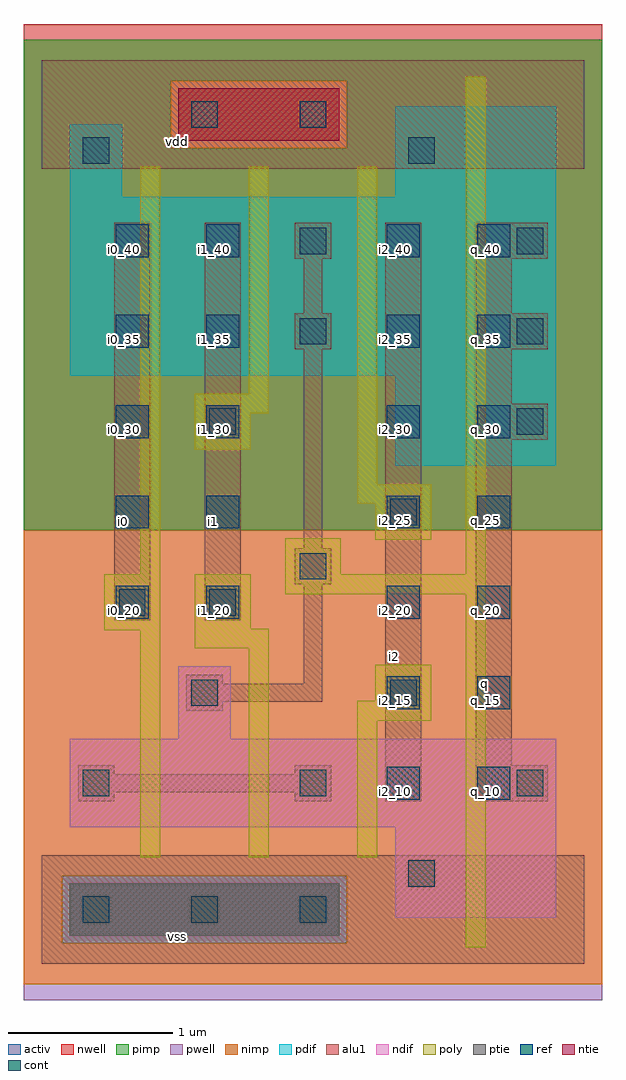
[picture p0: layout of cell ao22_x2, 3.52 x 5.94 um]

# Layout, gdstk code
import gdstk
lib = gdstk.Library(unit=1e-6, precision=2.5e-09)
def R(c, l, rs):  # rectangles x0, y0, x1, y1
    for r in rs: c.add(gdstk.rectangle(r[:2], r[2:], *l))
def A(c, l, x, y, w, h, nx, ny, dx, dy):  # array of equal rectangles
    R(c, l, [(x+i*dx, y+j*dy, x+i*dx+w, y+j*dy+h) for i in range(nx) for j in range(ny)])
ndif = (3, 0)
pdif = (4, 0)
ntie = (5, 0)
ptie = (6, 0)
ref = (24, 0)
cont = (25, 0)
pwell = (41, 0)
nwell = (42, 0)
activ = (43, 0)
pimp = (44, 0)
nimp = (45, 0)
poly = (46, 0)
alu1 = (49, 0)

ao22_x2 = lib.new_cell('ao22_x2')
R(ao22_x2, ndif, [(2.15,0.28,3.13,0.83), (2.15,0.28,3.13,0.83), (0.17,0.83,3.13,1.37), (0.17,0.83,3.13,1.37), (0.83,1.37,1.15,1.81), (0.83,1.37,1.15,1.81)])
R(ao22_x2, pdif, [(2.15,3.03,3.13,3.58), (2.15,3.03,3.13,3.58), (0.17,3.58,3.13,4.67), (0.17,3.58,3.13,4.67), (0.17,4.67,0.49,5.11), (0.17,4.67,0.49,5.11), (2.15,4.67,3.13,5.22), (2.15,4.67,3.13,5.22)])
R(ao22_x2, ntie, [(0.83,5.01,1.81,5.33), (0.83,5.01,1.81,5.33)])
R(ao22_x2, ptie, [(0.17,0.17,1.81,0.49), (0.17,0.17,1.81,0.49)])
A(ao22_x2, ref, 2.1, 1, 0.2, 0.2, 1, 7, 0, 0.55)
A(ao22_x2, ref, 2.65, 1, 0.2, 0.2, 1, 7, 0, 0.55)
A(ao22_x2, ref, 0.45, 2.1, 0.2, 0.2, 1, 5, 0, 0.55)
A(ao22_x2, ref, 1, 2.1, 0.2, 0.2, 1, 5, 0, 0.55)
A(ao22_x2, cont, 0.25, 0.25, 0.16, 0.16, 3, 1, 0.66, 0)
A(ao22_x2, cont, 0.25, 1.02, 0.16, 0.16, 3, 1, 1.32, 0)
A(ao22_x2, cont, 2.89, 3.22, 0.16, 0.16, 1, 3, 0, 0.55)
R(ao22_x2, cont, [(2.23,0.47,2.39,0.63), (0.91,1.57,1.07,1.73), (2.12,1.57,2.28,1.73), (0.47,2.12,0.63,2.28), (1.02,2.12,1.18,2.28), (1.57,2.34,1.73,2.5), (2.12,2.67,2.28,2.83), (1.02,3.22,1.18,3.38), (1.57,3.77,1.73,3.93), (1.57,4.32,1.73,4.48), (0.25,4.87,0.41,5.03), (2.23,4.87,2.39,5.03), (0.91,5.09,1.07,5.25), (1.57,5.09,1.73,5.25)])
R(ao22_x2, pwell, [(-0.11,-0.22,3.41,2.64)])
R(ao22_x2, nwell, [(-0.11,2.64,3.41,5.72)])
R(ao22_x2, activ, [(0.17,0.17,1.81,0.49), (0.17,0.17,1.81,0.49), (2.15,0.28,3.13,0.83), (2.15,0.28,3.13,0.83), (0.17,0.83,3.13,1.37), (0.17,0.83,3.13,1.37), (0.83,1.37,1.15,1.81), (0.83,1.37,1.15,1.81), (2.15,3.03,3.13,3.58), (2.15,3.03,3.13,3.58), (0.17,3.58,3.13,4.67), (0.17,3.58,3.13,4.67), (0.17,4.67,0.49,5.11), (0.17,4.67,0.49,5.11), (2.15,4.67,3.13,5.22), (2.15,4.67,3.13,5.22), (0.83,5.01,1.81,5.33), (0.83,5.01,1.81,5.33)])
R(ao22_x2, pimp, [(0.125,0.125,1.855,0.535), (-0.11,2.64,3.41,4.965), (-0.11,4.965,0.785,5.375), (1.855,4.965,3.41,5.375), (-0.11,5.375,3.41,5.625)])
R(ao22_x2, nimp, [(-0.11,-0.125,3.41,0.125), (-0.11,0.125,0.125,0.535), (1.855,0.125,3.41,0.535), (-0.11,0.535,3.41,2.64), (0.785,4.965,1.855,5.375)])
R(ao22_x2, poly, [(2.58,0.1,2.7,2.25), (0.6,0.65,0.72,2.03), (1.26,0.65,1.38,1.92), (1.92,0.65,2.04,1.48), (1.92,1.48,2.37,1.6), (2.03,1.6,2.37,1.82), (0.93,1.92,1.38,2.04), (0.38,2.03,0.72,2.37), (0.93,2.04,1.27,2.37), (1.48,2.25,2.7,2.37), (0.6,2.37,0.72,4.85), (1.48,2.37,1.82,2.59), (2.58,2.37,2.7,5.4), (2.03,2.58,2.37,2.8), (1.92,2.8,2.37,2.92), (1.92,2.92,2.04,4.85), (0.93,3.13,1.27,3.35), (0.93,3.35,1.38,3.47), (1.26,3.47,1.38,4.85)])
A(ao22_x2, alu1, 2.64, 3.19, 0.44, 0.22, 1, 3, 0, 0.55)
R(ao22_x2, alu1, [(0,0,3.3,0.66), (0.22,0.99,0.44,1.045), (1.54,0.99,1.76,1.045), (2.09,0.99,2.31,4.51), (2.64,0.99,3.08,1.21), (0.22,1.045,1.76,1.155), (0.22,1.155,0.44,1.21), (1.54,1.155,1.76,1.21), (2.64,1.21,2.86,3.19), (0.88,1.54,1.1,1.595), (0.88,1.595,1.705,1.705), (0.88,1.705,1.1,1.76), (1.595,1.705,1.705,2.31), (0.44,2.09,0.66,4.51), (0.99,2.09,1.21,4.51), (1.54,2.31,1.76,2.53), (1.595,2.53,1.705,3.74), (2.64,3.41,2.86,3.74), (1.54,3.74,1.76,3.96), (1.595,3.96,1.705,4.29), (2.64,3.96,2.86,4.29), (1.54,4.29,1.76,4.51), (0,4.84,3.3,5.5)])
ao22_x2.add(gdstk.Label('vss', (0.825,0.165), layer=49, texttype=0))
ao22_x2.add(gdstk.Label('q', (2.695,1.705), layer=49, texttype=0))
ao22_x2.add(gdstk.Label('i2', (2.145,1.87), layer=49, texttype=0))
ao22_x2.add(gdstk.Label('i1', (1.045,2.695), layer=49, texttype=0))
ao22_x2.add(gdstk.Label('i0', (0.495,2.695), layer=49, texttype=0))
ao22_x2.add(gdstk.Label('vdd', (0.825,5.005), layer=49, texttype=0))
ao22_x2.add(gdstk.Label('i2_10', (2.15,1.05), layer=24, texttype=0))
ao22_x2.add(gdstk.Label('q_10', (2.7,1.05), layer=24, texttype=0))
ao22_x2.add(gdstk.Label('q_15', (2.7,1.6), layer=24, texttype=0))
ao22_x2.add(gdstk.Label('q_20', (2.7,2.15), layer=24, texttype=0))
ao22_x2.add(gdstk.Label('q_25', (2.7,2.7), layer=24, texttype=0))
ao22_x2.add(gdstk.Label('q_30', (2.7,3.25), layer=24, texttype=0))
ao22_x2.add(gdstk.Label('q_35', (2.7,3.8), layer=24, texttype=0))
ao22_x2.add(gdstk.Label('q_40', (2.7,4.35), layer=24, texttype=0))
ao22_x2.add(gdstk.Label('i1_25', (1.05,2.7), layer=24, texttype=0))
ao22_x2.add(gdstk.Label('i1_20', (1.05,2.15), layer=24, texttype=0))
ao22_x2.add(gdstk.Label('i2_40', (2.15,4.35), layer=24, texttype=0))
ao22_x2.add(gdstk.Label('i2_35', (2.15,3.8), layer=24, texttype=0))
ao22_x2.add(gdstk.Label('i2_30', (2.15,3.25), layer=24, texttype=0))
ao22_x2.add(gdstk.Label('i2_25', (2.15,2.7), layer=24, texttype=0))
ao22_x2.add(gdstk.Label('i2_20', (2.15,2.15), layer=24, texttype=0))
ao22_x2.add(gdstk.Label('i2_15', (2.15,1.6), layer=24, texttype=0))
ao22_x2.add(gdstk.Label('i0_20', (0.5,2.15), layer=24, texttype=0))
ao22_x2.add(gdstk.Label('i0_25', (0.5,2.7), layer=24, texttype=0))
ao22_x2.add(gdstk.Label('i0_30', (0.5,3.25), layer=24, texttype=0))
ao22_x2.add(gdstk.Label('i0_35', (0.5,3.8), layer=24, texttype=0))
ao22_x2.add(gdstk.Label('i0_40', (0.5,4.35), layer=24, texttype=0))
ao22_x2.add(gdstk.Label('i1_40', (1.05,4.35), layer=24, texttype=0))
ao22_x2.add(gdstk.Label('i1_35', (1.05,3.8), layer=24, texttype=0))
ao22_x2.add(gdstk.Label('i1_30', (1.05,3.25), layer=24, texttype=0))

lib.write_gds('ao22_x2.gds')
